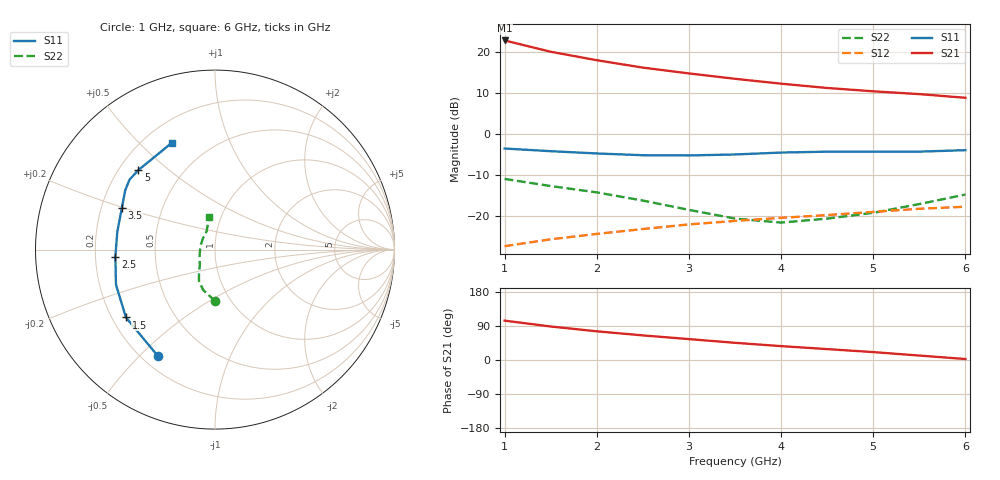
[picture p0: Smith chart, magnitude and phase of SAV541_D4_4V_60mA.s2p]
! Created Mon Oct 27 14:56:55 2008
# hz S ma R 50
! 2 Port Network Data from SP1.SP block
! freq  magS11  angS11  magS21  angS21  magS12  angS12  magS22  angS22
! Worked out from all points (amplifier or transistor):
!   11 points, 1 GHz to 6 GHz, reference 50 ohm
!   highest |S21| = 22.9 dB at 1 GHz (marker M1)
!   |S21| within 3 dB of that: start of sweep to 1.559 GHz
!   unconditionally stable (mu >= 1): 3.697 GHz to end of sweep
!   at 1.5 GHz: K = 0.67, MSG = 22.9 dB, |S12| = -25.6 dB
!   at 3.5 GHz: K = 0.99, MSG = 17.3 dB, |S12| = -21.1 dB
!   at 6 GHz: K = 1.06, MAG = 11.7 dB, |S12| = -17.7 dB
!   S11 on the Smith chart (normalised r, x): 1 GHz: 0.26, -0.57; 1.5 GHz: 0.26, -0.32; 2.5 GHz: 0.29, -0.03; 3.5 GHz: 0.29, +0.20; 5 GHz: 0.28, +0.40; 6 GHz: 0.31, +0.63
1e9  0.6724 -118.4  14 103.8  0.04326 43.5  0.2862 -90.0
1.5e9  0.6237 -142.7  10.19 88.4  0.05249 39.5  0.2342 -106.4
2e9  0.5853 -160.5  8.035 75.7  0.06105 35.9  0.196 -117.2
2.5e9  0.5568 -175.8  6.527 64.9  0.07002 33.3  0.1557 -124.9
3e9  0.5532 169.7  5.546 55.2  0.07971 30.2  0.1199 -134.7
3.5e9  0.5688 155.8  4.767 45.4  0.08795 25.9  0.09393 -156.6
4e9  0.6 146.4  4.156 36.6  0.09592 21.7  0.0839 166.0
4.5e9  0.6154 140.7  3.683 28.8  0.1037 18.2  0.09385 134.1
5e9  0.6155 133.8  3.355 20.9  0.1133 14.4  0.1105 115.5
5.5e9  0.6158 123.5  3.1 11.7  0.1237 8.9  0.1412 106.6
6e9  0.6419 112.1  2.796 2.6  0.1311 3.2  0.1844 99.7
